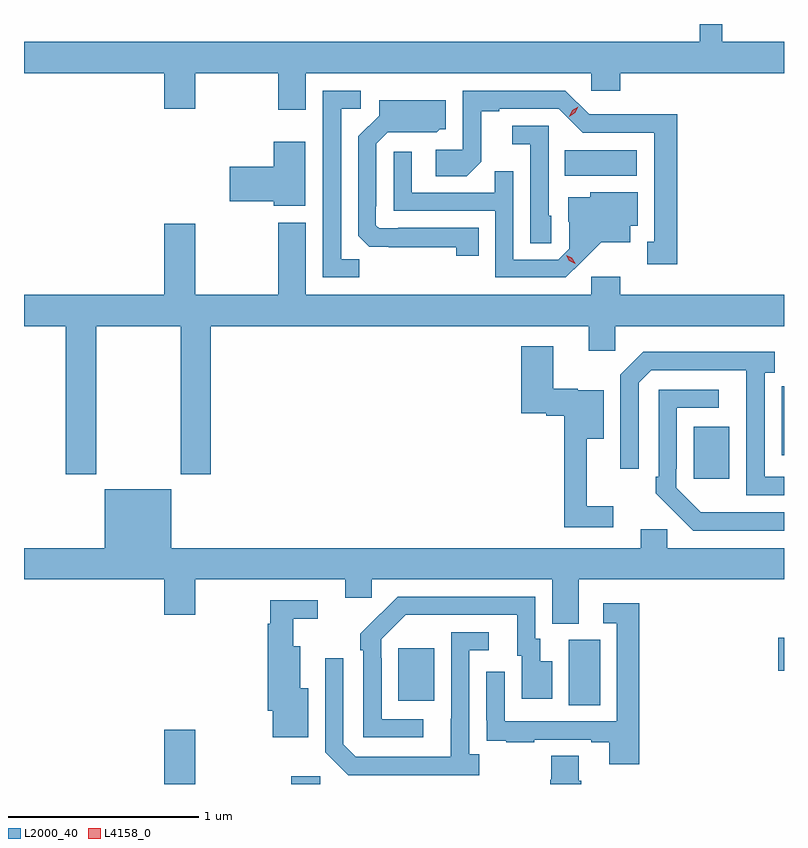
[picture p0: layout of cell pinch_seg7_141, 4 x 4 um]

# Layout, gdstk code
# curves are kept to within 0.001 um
import gdstk
lib = gdstk.Library(unit=1e-6, precision=1e-09)
def R(c, l, rs):  # rectangles x0, y0, x1, y1
    for r in rs: c.add(gdstk.rectangle(r[:2], r[2:], *l))
def P(c, l, *ps):  # polygons
    for p in ps: c.add(gdstk.Polygon(p, *l))
L2000_40 = (2000, 40)
L4158_0 = (4158, 0)

pinch_seg7_141 = lib.new_cell('pinch_seg7_141')
R(pinch_seg7_141, L2000_40, [(1028.144,1002.202,1028.308,1002.487), (1028.813,1002.202,1028.964,1002.244), (1030.274,1002.616,1030.438,1002.96), (1029.377,1002.641,1029.565,1002.916), (1031.376,1002.797,1031.406,1002.972), (1030.931,1003.809,1031.119,1004.083), (1030.252,1005.404,1030.632,1005.538)])
P(pinch_seg7_141, L2000_40, [(1028.89,1005.944),(1030.392,1005.944),(1030.392,1005.851),(1030.544,1005.851),(1030.544,1005.944),(1031.406,1005.944),(1031.406,1006.108),(1031.081,1006.108),(1031.081,1006.202),(1030.963,1006.202),(1030.963,1006.108),(1027.406,1006.108),(1027.406,1005.944),(1028.144,1005.944),(1028.144,1005.756),(1028.308,1005.756),(1028.308,1005.944),(1028.743,1005.944),(1028.743,1005.75),(1028.89,1005.75)],
  [(1030.843,1005.728),(1030.602,1005.728),(1030.602,1005.726),(1030.38,1005.726),(1030.254,1005.852),(1029.714,1005.852),(1029.714,1005.54),(1029.573,1005.54),(1029.573,1005.4),(1029.737,1005.4),(1029.813,1005.476),(1029.813,1005.744),(1029.907,1005.744),(1029.907,1005.756),(1030.221,1005.756),(1030.347,1005.63),(1030.724,1005.63),(1030.724,1005.057),(1030.685,1005.057),(1030.685,1004.937),(1030.843,1004.937)],
  [(1029.171,1004.963),(1029.075,1004.963),(1029.075,1005.756),(1029.178,1005.756),(1029.178,1005.852),(1028.979,1005.852),(1028.979,1004.868),(1029.171,1004.868)],
  [(1029.8,1005.129),(1029.376,1005.129),(1029.376,1005.126),(1029.276,1005.126),(1029.258,1005.144),(1029.258,1005.244),(1029.261,1005.244),(1029.261,1005.573),(1029.321,1005.633),(1029.578,1005.632),(1029.594,1005.648),(1029.625,1005.648),(1029.625,1005.802),(1029.275,1005.802),(1029.275,1005.72),(1029.165,1005.61),(1029.165,1005.088),(1029.224,1005.029),(1029.682,1005.028),(1029.682,1004.982),(1029.8,1004.982)],
  [(1030.182,1005.192),(1030.167,1005.192),(1030.167,1005.666),(1029.975,1005.666),(1029.975,1005.569),(1030.071,1005.569),(1030.071,1005.049),(1030.182,1005.049)],
  [(1028.887,1005.583),(1028.72,1005.583),(1028.72,1005.452),(1028.49,1005.452),(1028.49,1005.269),(1028.72,1005.269),(1028.72,1005.245),(1028.887,1005.245)],
  [(1030.342,1004.951),(1030.445,1005.053),(1030.597,1005.053),(1030.597,1005.14),(1030.636,1005.14),(1030.636,1005.316),(1030.386,1005.316),(1030.386,1005.289),(1030.271,1005.289),(1030.271,1005.16),(1030.275,1005.16),(1030.275,1005.018),(1030.218,1004.961),(1029.981,1004.961),(1029.981,1005.428),(1029.883,1005.428),(1029.883,1005.315),(1029.447,1005.315),(1029.447,1005.529),(1029.351,1005.529),(1029.351,1005.219),(1029.885,1005.219),(1029.885,1004.868),(1030.258,1004.868)],
  [(1027.785,1004.612),(1028.23,1004.612),(1028.23,1003.833),(1028.39,1003.833),(1028.39,1004.612),(1030.379,1004.612),(1030.379,1004.481),(1030.518,1004.481),(1030.518,1004.612),(1031.406,1004.612),(1031.406,1004.776),(1030.544,1004.776),(1030.544,1004.872),(1030.392,1004.872),(1030.392,1004.776),(1028.89,1004.776),(1028.89,1005.157),(1028.743,1005.157),(1028.743,1004.776),(1028.308,1004.776),(1028.308,1005.151),(1028.144,1005.151),(1028.144,1004.776),(1027.406,1004.776),(1027.406,1004.612),(1027.625,1004.612),(1027.625,1003.833),(1027.785,1003.833)],
  [(1030.507,1003.663),(1030.367,1003.663),(1030.367,1004.018),(1030.456,1004.018),(1030.456,1004.275),(1030.32,1004.275),(1030.32,1004.283),(1030.192,1004.283),(1030.192,1004.506),(1030.022,1004.506),(1030.022,1004.153),(1030.155,1004.153),(1030.155,1004.141),(1030.249,1004.141),(1030.249,1003.554),(1030.507,1003.554)],
  [(1031.406,1003.818),(1031.304,1003.818),(1031.304,1004.366),(1031.356,1004.366),(1031.356,1004.476),(1030.666,1004.476),(1030.545,1004.355),(1030.545,1003.86),(1030.641,1003.86),(1030.641,1004.313),(1030.707,1004.379),(1031.207,1004.379),(1031.208,1003.722),(1031.406,1003.722)],
  [(1031.406,1004.295),(1031.395,1004.295),(1031.395,1004.186),(1031.394,1004.186),(1031.394,1003.932),(1031.406,1003.932)],
  [(1031.406,1003.632),(1030.968,1003.633),(1030.839,1003.761),(1030.839,1003.861),(1030.842,1003.861),(1030.842,1004.181),(1031.062,1004.181),(1031.062,1004.277),(1030.746,1004.277),(1030.746,1003.819),(1030.731,1003.819),(1030.731,1003.731),(1030.928,1003.536),(1031.406,1003.536)],
  [(1030.327,1003.28),(1031.406,1003.28),(1031.406,1003.444),(1030.791,1003.444),(1030.791,1003.542),(1030.652,1003.542),(1030.652,1003.444),(1028.182,1003.444),(1028.182,1003.753),(1027.832,1003.753),(1027.832,1003.444),(1027.406,1003.444),(1027.406,1003.28),(1028.144,1003.28),(1028.144,1003.092),(1028.308,1003.092),(1028.308,1003.28),(1029.098,1003.28),(1029.098,1003.182),(1029.237,1003.182),(1029.237,1003.28),(1030.187,1003.28),(1030.187,1003.045),(1030.327,1003.045)],
  [(1029.507,1002.543),(1029.288,1002.543),(1029.288,1002.863),(1029.285,1002.863),(1029.285,1002.963),(1029.414,1003.092),(1030.001,1003.092),(1030.001,1002.876),(1030.025,1002.876),(1030.025,1002.651),(1030.186,1002.651),(1030.186,1002.847),(1030.123,1002.847),(1030.123,1002.966),(1030.098,1002.966),(1030.098,1003.188),(1029.374,1003.188),(1029.177,1002.993),(1029.177,1002.905),(1029.192,1002.905),(1029.192,1002.447),(1029.507,1002.447)],
  [(1028.902,1002.706),(1028.86,1002.706),(1028.86,1002.928),(1028.824,1002.928),(1028.824,1003.073),(1028.953,1003.073),(1028.953,1003.17),(1028.703,1003.17),(1028.703,1003.046),(1028.69,1003.046),(1028.69,1002.588),(1028.714,1002.588),(1028.714,1002.449),(1028.902,1002.449)],
  [(1030.643,1003.153),(1030.455,1003.153),(1030.455,1003.047),(1030.527,1003.047),(1030.527,1002.531),(1029.936,1002.531),(1029.936,1002.793),(1029.84,1002.793),(1029.84,1002.538),(1029.841,1002.538),(1029.841,1002.429),(1029.943,1002.429),(1029.943,1002.423),(1030.091,1002.423),(1030.091,1002.435),(1030.391,1002.435),(1030.391,1002.423),(1030.487,1002.423),(1030.487,1002.306),(1030.643,1002.306)],
  [(1029.802,1002.358),(1029.75,1002.358),(1029.75,1002.906),(1029.853,1002.906),(1029.853,1003.002),(1029.654,1003.002),(1029.653,1002.345),(1029.153,1002.345),(1029.087,1002.411),(1029.087,1002.865),(1028.991,1002.865),(1028.991,1002.369),(1029.112,1002.248),(1029.802,1002.248)],
  [(1030.34,1002.218),(1030.327,1002.218),(1030.327,1002.35),(1030.18,1002.35),(1030.18,1002.225),(1030.175,1002.225),(1030.175,1002.202),(1030.34,1002.202)])
P(pinch_seg7_141, L4158_0, [(1030.275,1005.715),(1030.275,1005.716),(1030.292,1005.748),(1030.324,1005.767),(1030.324,1005.767),(1030.324,1005.767),(1030.307,1005.734),(1030.275,1005.715)],
  [(1030.307,1004.941),(1030.276,1004.956),(1030.259,1004.985),(1030.259,1004.985),(1030.259,1004.985),(1030.29,1004.971),(1030.308,1004.942),(1030.308,1004.941)])

lib.write_gds('pinch_seg7_141.gds')
